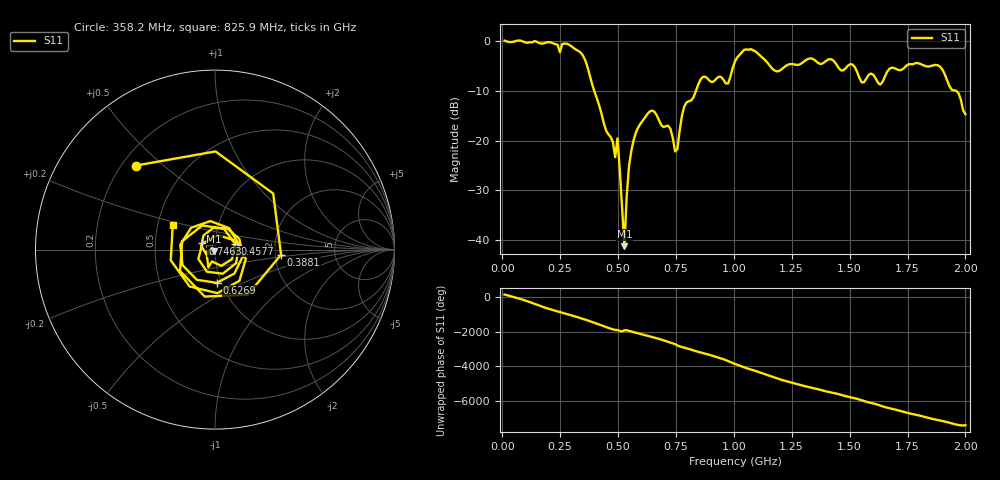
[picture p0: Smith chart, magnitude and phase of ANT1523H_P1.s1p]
!Created with skrf (http://scikit-rf.org).
# Hz S RI R 50.0
!freq ReS11 ImS11
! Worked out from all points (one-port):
!   201 points, 10 MHz to 2 GHz, reference 50 ohm
!   lowest |S11| = -41.2 dB at 527.4 MHz (marker M1), VSWR 1.02, Z = 49.5 - j0.71 ohm
!   |S11| at or under -10 dB: 397.1 MHz to 836.3 MHz (439.2 MHz wide, 71.2 % of centre); 1.961 GHz to end of sweep
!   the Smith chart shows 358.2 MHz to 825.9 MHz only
!   S11 on the Smith chart (normalised r, x): 358.2 MHz: 0.26, +0.41; 388.1 MHz: 2.16, -0.14; 457.8 MHz: 1.25, +0.08; 626.9 MHz: 0.95, -0.36; 746.3 MHz: 0.87, +0.06; 825.9 MHz: 0.60, +0.18
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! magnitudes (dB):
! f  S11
! 10 MHz  0.1
! 258.8 MHz  -0.6
! 358.2 MHz  -3.8
! 388.1 MHz  -8.7
! 457.8 MHz  -18.7
! 487.6 MHz  -23.3
! 497.6 MHz  -19.5
! 507.5 MHz  -25.9
! 527.4 MHz  -41.2
! 537.4 MHz  -31.1
! 557.2 MHz  -22.0
! 626.9 MHz  -14.6
! 716.5 MHz  -17.0
! 746.3 MHz  -22.2
! 756.2 MHz  -21.7
! 786.1 MHz  -13.1
! 825.9 MHz  -11.3
! 865.7 MHz  -7.2
! 975.1 MHz  -8.5
! 1.005 GHz  -4.1
! 1.075 GHz  -1.6
! 1.184 GHz  -6.1
! 1.254 GHz  -4.6
! 1.502 GHz  -4.6
! 1.632 GHz  -8.7
! 1.751 GHz  -4.7
! 1.891 GHz  -5.1
! 2 GHz  -14.7
